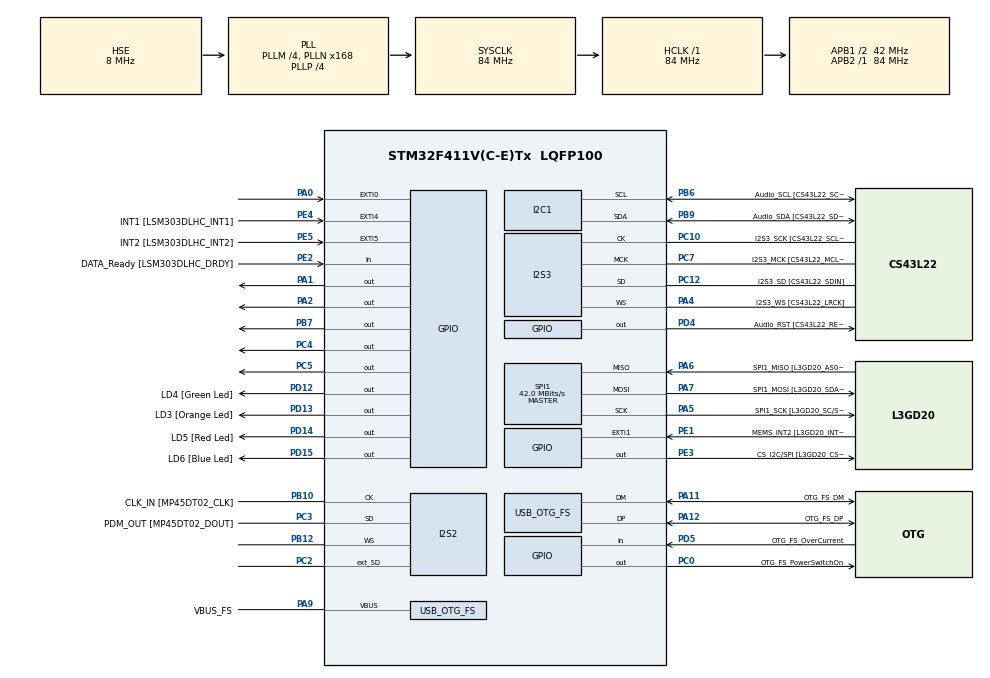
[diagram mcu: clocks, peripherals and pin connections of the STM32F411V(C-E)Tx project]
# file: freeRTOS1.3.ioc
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FREERTOS.Tasks01=defaultTask,24,128,StartDefaultTask,Default,NULL,Dynamic,NULL,NULL
FREERTOS.configUSE_NEWLIB_REENTRANT=1
I2S2.AudioFreq=I2S_AUDIOFREQ_96K
I2S2.ErrorAudioFreq=0.15 %
I2S2.FullDuplexMode=I2S_FULLDUPLEXMODE_ENABLE
I2S2.Instance=SPI$Index
I2S2.RealAudioFreq=96.153 KHz
I2S2.VirtualMode=I2S_MODE_MASTER
I2S3.AudioFreq=I2S_AUDIOFREQ_96K
I2S3.ErrorAudioFreq=-6.99 %
I2S3.FullDuplexMode=I2S_FULLDUPLEXMODE_DISABLE
I2S3.Instance=SPI$Index
I2S3.RealAudioFreq=89.285 KHz
I2S3.VirtualMode=I2S_MODE_MASTER
Mcu.Family=STM32F4
Mcu.Name=STM32F411V(C-E)Tx
Mcu.Package=LQFP100
NVIC.OTG_FS_IRQn=true\:5\:0\:false\:false\:true\:true\:true\:true\:true
NVIC.PriorityGroup=NVIC_PRIORITYGROUP_4
NVIC.TIM4_IRQn=true\:15\:0\:false\:false\:true\:false\:false\:true\:true
NVIC.TimeBase=TIM4_IRQn
NVIC.TimeBaseIP=TIM4
PA0-WKUP.GPIO_ModeDefaultEXTI=GPIO_MODE_EVT_RISING
PA0-WKUP.Signal=GPXTI0
PA1.Signal=GPIO_Output
PA10.GPIO_Label=OTG_FS_ID
PA10.Signal=USB_OTG_FS_ID
PA11.GPIO_Label=OTG_FS_DM
PA11.Mode=Device_Only
PA11.Signal=USB_OTG_FS_DM
PA12.GPIO_Label=OTG_FS_DP
PA12.Mode=Device_Only
PA12.Signal=USB_OTG_FS_DP
PA13.GPIO_Label=SWDIO
PA13.Mode=Serial_Wire
PA13.Signal=SYS_JTMS-SWDIO
PA14.GPIO_Label=SWCLK
PA14.Mode=Serial_Wire
PA14.Signal=SYS_JTCK-SWCLK
PA2.Signal=GPIO_Output
PA4.GPIO_Label=I2S3_WS [CS43L22_LRCK]
PA4.GPIO_Mode=GPIO_MODE_AF_PP
PA4.GPIO_PuPd=GPIO_NOPULL
PA4.GPIO_Speed=GPIO_SPEED_FREQ_LOW
PA4.Mode=Half_Duplex_Master
PA4.Signal=I2S3_WS
PA5.GPIO_Label=SPI1_SCK [L3GD20_SC/SPC]
PA5.Mode=Full_Duplex_Master
PA5.Signal=SPI1_SCK
PA6.GPIO_Label=SPI1_MISO [L3GD20_AS0/SDO]
PA6.Mode=Full_Duplex_Master
PA6.Signal=SPI1_MISO
PA7.GPIO_Label=SPI1_MOSI [L3GD20_SDA/SDI/SDO]
PA7.Mode=Full_Duplex_Master
PA7.Signal=SPI1_MOSI
PA9.GPIO_Label=VBUS_FS
PA9.Mode=Activate_VBUS
PA9.Signal=USB_OTG_FS_VBUS
PB10.GPIO_Label=CLK_IN [MP45DT02_CLK]
PB10.Mode=Full_Duplex_Master
PB10.Signal=I2S2_CK
PB12.Mode=Full_Duplex_Master
PB12.Signal=I2S2_WS
PB3.GPIO_Label=SWO
PB3.Signal=SYS_JTDO-SWO
PB6.GPIO_Label=Audio_SCL [CS43L22_SCL]
PB6.GPIO_Mode=GPIO_MODE_AF_OD
PB6.GPIO_Pu=GPIO_PULLUP
PB6.GPIO_PuPd=GPIO_NOPULL
PB6.GPIO_Speed=GPIO_SPEED_FREQ_LOW
PB6.Mode=I2C
PB6.Signal=I2C1_SCL
PB7.Signal=GPIO_Output
PB9.GPIO_Label=Audio_SDA [CS43L22_SDA]
PB9.GPIO_Mode=GPIO_MODE_AF_OD
PB9.GPIO_Pu=GPIO_PULLUP
PB9.GPIO_PuPd=GPIO_NOPULL
PB9.GPIO_Speed=GPIO_SPEED_FREQ_LOW
PB9.Mode=I2C
PB9.Signal=I2C1_SDA
PC0.GPIO_Label=OTG_FS_PowerSwitchOn
PC0.PinState=GPIO_PIN_SET
PC0.Signal=GPIO_Output
PC10.GPIO_Label=I2S3_SCK [CS43L22_SCLK]
PC10.GPIO_Mode=GPIO_MODE_AF_PP
PC10.GPIO_PuPd=GPIO_NOPULL
PC10.GPIO_Speed=GPIO_SPEED_FREQ_LOW
PC10.Mode=Half_Duplex_Master
PC10.Signal=I2S3_CK
PC12.GPIO_Label=I2S3_SD [CS43L22_SDIN]
PC12.GPIO_Mode=GPIO_MODE_AF_PP
PC12.GPIO_PuPd=GPIO_NOPULL
PC12.GPIO_Speed=GPIO_SPEED_FREQ_LOW
PC12.Mode=Half_Duplex_Master
PC12.Signal=I2S3_SD
PC14-OSC32_IN.GPIO_Label=PC14-OSC32_IN
PC14-OSC32_IN.Mode=LSE-External-Oscillator
PC14-OSC32_IN.Signal=RCC_OSC32_IN
PC15-OSC32_OUT.GPIO_Label=PC15-OSC32_OUT
PC15-OSC32_OUT.Mode=LSE-External-Oscillator
PC15-OSC32_OUT.Signal=RCC_OSC32_OUT
PC2.Mode=Full_Duplex_Master
PC2.Signal=I2S2_ext_SD
PC3.GPIO_Label=PDM_OUT [MP45DT02_DOUT]
PC3.Mode=Full_Duplex_Master
PC3.Signal=I2S2_SD
PC4.Signal=GPIO_Output
PC5.Signal=GPIO_Output
PC7.GPIO_Label=I2S3_MCK [CS43L22_MCLK]
PC7.GPIO_Mode=GPIO_MODE_AF_PP
PC7.GPIO_PuPd=GPIO_NOPULL
PC7.GPIO_Speed=GPIO_SPEED_FREQ_LOW
PC7.Mode=Master_Clock_Activated
PC7.Signal=I2S3_MCK
PD12.GPIO_Label=LD4 [Green Led]
PD12.GPIO_PuPd=GPIO_NOPULL
PD12.GPIO_Speed=GPIO_SPEED_FREQ_LOW
PD12.Signal=GPIO_Output
PD13.GPIO_Label=LD3 [Orange Led]
PD13.GPIO_PuPd=GPIO_NOPULL
PD13.GPIO_Speed=GPIO_SPEED_FREQ_LOW
PD13.Signal=GPIO_Output
PD14.GPIO_Label=LD5 [Red Led]
PD14.GPIO_PuPd=GPIO_NOPULL
PD14.GPIO_Speed=GPIO_SPEED_FREQ_LOW
PD14.Signal=GPIO_Output
PD15.GPIO_Label=LD6 [Blue Led]
PD15.GPIO_PuPd=GPIO_NOPULL
PD15.GPIO_Speed=GPIO_SPEED_FREQ_LOW
PD15.Signal=GPIO_Output
PD4.GPIO_Label=Audio_RST [CS43L22_RESET]
PD4.Signal=GPIO_Output
PD5.GPIO_Label=OTG_FS_OverCurrent
PD5.Signal=GPIO_Input
PE1.GPIO_Label=MEMS_INT2 [L3GD20_INT2]
PE1.GPIO_ModeDefaultEXTI=GPIO_MODE_EVT_RISING
PE1.Signal=GPXTI1
PE2.GPIO_Label=DATA_Ready [LSM303DLHC_DRDY]
PE2.Signal=GPIO_Input
PE3.GPIO_Label=CS_I2C/SPI [L3GD20_CS_I2C/SPI]
PE3.Signal=GPIO_Output
PE4.GPIO_Label=INT1 [LSM303DLHC_INT1]
PE4.GPIO_ModeDefaultEXTI=GPIO_MODE_EVT_RISING
PE4.Signal=GPXTI4
PE5.GPIO_Label=INT2 [LSM303DLHC_INT2]
PE5.GPIO_ModeDefaultEXTI=GPIO_MODE_EVT_RISING
PE5.Signal=GPXTI5
PH0\ -\ OSC_IN.GPIO_Label=PH0-OSC_IN
PH0\ -\ OSC_IN.Mode=HSE-External-Oscillator
PH0\ -\ OSC_IN.Signal=RCC_OSC_IN
PH1\ -\ OSC_OUT.GPIO_Label=PH1-OSC_OUT
PH1\ -\ OSC_OUT.Mode=HSE-External-Oscillator
PH1\ -\ OSC_OUT.Signal=RCC_OSC_OUT
ProjectManager.HeapSize=0x200
ProjectManager.StackSize=0x400
ProjectManager.TargetToolchain=STM32CubeIDE
RCC.48MHZClocksFreq_Value=48000000
RCC.AHBFreq_Value=84000000
RCC.APB1CLKDivider=RCC_HCLK_DIV2
RCC.APB1Freq_Value=42000000
RCC.APB1TimFreq_Value=84000000
RCC.APB2Freq_Value=84000000
RCC.APB2TimFreq_Value=84000000
RCC.CortexFreq_Value=84000000
RCC.HCLKFreq_Value=84000000
RCC.HSE_VALUE=8000000
RCC.HSI_VALUE=16000000
RCC.PLLI2SM=5
RCC.PLLI2SN=200
RCC.PLLM=4
RCC.PLLN=168
RCC.PLLP=RCC_PLLP_DIV4
RCC.PLLQ=7
RCC.SYSCLKFreq_VALUE=84000000
RCC.SYSCLKSource=RCC_SYSCLKSOURCE_PLLCLK
RCC.VCOOutputFreq_Value=336000000
SPI1.BaudRatePrescaler=SPI_BAUDRATEPRESCALER_2
SPI1.CalculateBaudRate=42.0 MBits/s
SPI1.Direction=SPI_DIRECTION_2LINES
SPI1.Mode=SPI_MODE_MASTER
SPI1.VirtualType=VM_MASTER
USB_DEVICE.CLASS_NAME_FS=CDC
USB_DEVICE.PRODUCT_STRING_CDC_FS=OutOfBounds
USB_DEVICE.VirtualMode=Cdc
USB_DEVICE.VirtualModeFS=Cdc_FS
USB_OTG_FS.VirtualMode=Device_Only
VP_FREERTOS_VS_CMSIS_V2.Mode=CMSIS_V2
VP_SYS_VS_tim4.Mode=TIM4
VP_USB_DEVICE_VS_USB_DEVICE_CDC_FS.Mode=CDC_FS
board=STM32F411E-DISCO

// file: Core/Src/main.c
/* USER CODE BEGIN Header */
/**
 ******************************************************************************
 * @file           : main.c
 * @brief          : Main program body
 ******************************************************************************
 * @attention
 *
 * Copyright (c) 2025 STMicroelectronics.
 * All rights reserved.
 *
 * This software is licensed under terms that can be found in the LICENSE file
 * in the root directory of this software component.
 * If no LICENSE file comes with this software, it is provided AS-IS.
 *
 ******************************************************************************
 */
/* USER CODE END Header */
#include "main.h"
#include "cmsis_os.h"
#include "usb_device.h"

/* USER CODE BEGIN Includes */
#include "FreeRTOS.h"
#include "queue.h"
#include "task.h"
/* USER CODE END Includes */

I2C_HandleTypeDef hi2c1;

I2S_HandleTypeDef hi2s2;
I2S_HandleTypeDef hi2s3;

SPI_HandleTypeDef hspi1;

/* Definitions for defaultTask */
osThreadId_t defaultTaskHandle;
const osThreadAttr_t defaultTask_attributes = { .name = "defaultTask",
		.stack_size = 128 * 4, .priority = (osPriority_t) osPriorityNormal, };

void SystemClock_Config(void);
void PeriphCommonClock_Config(void);
static void MX_GPIO_Init(void);
static void MX_I2C1_Init(void);
static void MX_I2S2_Init(void);
static void MX_I2S3_Init(void);
static void MX_SPI1_Init(void);
void StartDefaultTask(void *argument);

/* USER CODE BEGIN PFP */
void LEDTask(void *pvParameters);
void DC_MotorTask(void *pvParameters);
void beeperTask(void *pvParameters);

TaskHandle_t TaskHandle_LEDTask;
TaskHandle_t TaskHandle_USBTask;
TaskHandle_t TaskHandle_DC_MotorTask;
TaskHandle_t TaskHandle_beeperTask;
void usbRecieveData(uint8_t data);

//max 5 items, each one byte, 0->no command, 1-4 ->different gestures
QueueHandle_t usbQueue;
QueueHandle_t ledQueue, motorQueue, beeperQueue;
static TaskHandle_t xLedTaskHandle = NULL;
const uint8_t ucLedState = 1;
/* USER CODE END PFP */

/* USER CODE BEGIN 0 */
enum Gesture {
	FIST = 0,
	HAND = 1,
	PEACE = 2,
	THUMBS_UP = 3,
	NOTHING = 4
};
void LEDTask(void *pvParameters) {  // green LED
	uint32_t recievedCommand = 0;
	xLedTaskHandle = xTaskGetCurrentTaskHandle();
//    uint32_t ulNotificationValue;
	for (;;) {

		xTaskNotifyWait(0, 0x00, &recievedCommand, portMAX_DELAY); //Waits untill a task is called

		if (recievedCommand == FIST) {
			HAL_GPIO_WritePin(GPIOD, GPIO_PIN_12, GPIO_PIN_SET);
		} else {
			HAL_GPIO_WritePin(GPIOD, GPIO_PIN_12, GPIO_PIN_RESET);
		}
		if (recievedCommand == HAND) {
			HAL_GPIO_WritePin(GPIOD, GPIO_PIN_13, GPIO_PIN_SET);
		} else {
			HAL_GPIO_WritePin(GPIOD, GPIO_PIN_13, GPIO_PIN_RESET);
		}
		if (recievedCommand == PEACE) {
			HAL_GPIO_WritePin(GPIOD, GPIO_PIN_14, GPIO_PIN_SET);
		} else {
			HAL_GPIO_WritePin(GPIOD, GPIO_PIN_14, GPIO_PIN_RESET);
		}
		if (recievedCommand == THUMBS_UP) {
			HAL_GPIO_WritePin(GPIOD, GPIO_PIN_15, GPIO_PIN_SET);
		} else {
			HAL_GPIO_WritePin(GPIOD, GPIO_PIN_15, GPIO_PIN_RESET);
		}
	}
}
static int usbCommand = NOTHING;
void usbRecieveData(uint8_t data) {

	usbCommand = data;
}

void DC_MotorTask(void *pvParameters) {  // red LED
	int recievedCommand = 0;
	for (;;) {
		xQueueReceive(motorQueue, &recievedCommand, pdMS_TO_TICKS(100));

		if (recievedCommand == FIST) {

			HAL_GPIO_WritePin(GPIOA, GPIO_PIN_1, GPIO_PIN_SET);
			HAL_GPIO_WritePin(GPIOA, GPIO_PIN_2, GPIO_PIN_SET);
			HAL_GPIO_WritePin(GPIOC, GPIO_PIN_4, GPIO_PIN_RESET);
			HAL_GPIO_WritePin(GPIOC, GPIO_PIN_5, GPIO_PIN_RESET);
		} else if (recievedCommand == HAND) {
			HAL_GPIO_WritePin(GPIOA, GPIO_PIN_1, GPIO_PIN_RESET);
			HAL_GPIO_WritePin(GPIOA, GPIO_PIN_2, GPIO_PIN_RESET);
			HAL_GPIO_WritePin(GPIOC, GPIO_PIN_4, GPIO_PIN_SET);
			HAL_GPIO_WritePin(GPIOC, GPIO_PIN_5, GPIO_PIN_SET);
		} else {
			HAL_GPIO_WritePin(GPIOA, GPIO_PIN_1, GPIO_PIN_RESET);
			HAL_GPIO_WritePin(GPIOA, GPIO_PIN_2, GPIO_PIN_RESET);
			HAL_GPIO_WritePin(GPIOC, GPIO_PIN_4, GPIO_PIN_RESET);
			HAL_GPIO_WritePin(GPIOC, GPIO_PIN_5, GPIO_PIN_RESET);

		}

	}
}
void beeper_noise() {   //pin je pb7
	uint32_t leveli_glasnosti[5] = { 50, 80, 50, 120, 0 };

	for (uint8_t var = 0; var < 5; ++var) {
		HAL_GPIO_WritePin(GPIOB, GPIO_PIN_7, GPIO_PIN_SET);
		HAL_Delay(leveli_glasnosti[var]);
		HAL_GPIO_WritePin(GPIOB, GPIO_PIN_7, GPIO_PIN_RESET);
		HAL_Delay(120 - leveli_glasnosti[var]);
	}

	HAL_GPIO_WritePin(GPIOB, GPIO_PIN_7, GPIO_PIN_RESET);

}
void beeperTask(void *pvParameters) {  // blue LED
	int recievedCommand = 0;
	for (;;) {
		xQueueReceive(beeperQueue, &recievedCommand, pdMS_TO_TICKS(100));

		if (recievedCommand == THUMBS_UP) {
			//HAL_GPIO_WritePin(GPIOD, GPIO_PIN_15, GPIO_PIN_SET);
			beeper_noise();
		} else {
			//HAL_GPIO_WritePin(GPIOD, GPIO_PIN_15, GPIO_PIN_RESET);
		}

	}
}

void USBTask(void *pvParameters) {

	for (;;) {
		//check for buffer

		if (usbCommand)
			xQueueSend(ledQueue, &usbCommand, pdMS_TO_TICKS(100));
		if (xLedTaskHandle != NULL) {
			xTaskNotify(xLedTaskHandle, usbCommand, eSetValueWithoutOverwrite);
		}
//        xQueueSend(ledQueue, &command, pdMS_TO_TICKS(100));
		xQueueSend(motorQueue, &usbCommand, pdMS_TO_TICKS(100));
		xQueueSend(beeperQueue, &usbCommand, pdMS_TO_TICKS(100));

		vTaskDelay(pdMS_TO_TICKS(100));
	}
}

/* USER CODE END 0 */

int main(void) {

	/* USER CODE BEGIN 1 */
// Create a queue with 5 items, each of 1 byte (uint8_t) in size
	//usbQueue = xQueueCreate(5, sizeof(uint8_t));
	ledQueue = xQueueCreate(2, sizeof(int));
	motorQueue = xQueueCreate(2, sizeof(int));
	beeperQueue = xQueueCreate(2, sizeof(int));

	/* USER CODE END 1 */

	/* MCU Configuration--------------------------------------------------------*/

	/* Reset of all peripherals, Initializes the Flash interface and the Systick. */
	HAL_Init();

	/* Configure the system clock */
	SystemClock_Config();

	/* Configure the peripherals common clocks */
	PeriphCommonClock_Config();

	/* Initialize all configured peripherals */
	MX_GPIO_Init();
	MX_I2C1_Init();
	MX_I2S2_Init();
	MX_I2S3_Init();
	MX_SPI1_Init();

	/* Init scheduler */
	osKernelInitialize();

	/* Create the thread(s) */
	/* creation of defaultTask */
	defaultTaskHandle = osThreadNew(StartDefaultTask, NULL,
			&defaultTask_attributes);

	/* USER CODE BEGIN RTOS_EVENTS */

	/* add events, ... */
	xTaskCreate(LEDTask, "LED Task", 128, NULL, 2, &TaskHandle_LEDTask);
	xTaskCreate(USBTask, "USB Task", 128, NULL, 2, NULL);
	xTaskCreate(beeperTask, "beeper Task", 128, NULL, 2,
			&TaskHandle_beeperTask);
	xTaskCreate(DC_MotorTask, "DC Motor Task", 128, NULL, 2,
			&TaskHandle_DC_MotorTask);
	/* USER CODE END RTOS_EVENTS */

	/* Start scheduler */
	osKernelStart();

	/* We should never get here as control is now taken by the scheduler */

	/* Infinite loop */
	while (1) {

	}
}

void SystemClock_Config(void) {
	RCC_OscInitTypeDef RCC_OscInitStruct = { 0 };
	RCC_ClkInitTypeDef RCC_ClkInitStruct = { 0 };

	/** Configure the main internal regulator output voltage
	 */
	__HAL_RCC_PWR_CLK_ENABLE();
	__HAL_PWR_VOLTAGESCALING_CONFIG(PWR_REGULATOR_VOLTAGE_SCALE1);

	/** Initializes the RCC Oscillators according to the specified parameters
	 * in the RCC_OscInitTypeDef structure.
	 */
	RCC_OscInitStruct.OscillatorType = RCC_OSCILLATORTYPE_HSE;
	RCC_OscInitStruct.HSEState = RCC_HSE_ON;
	RCC_OscInitStruct.PLL.PLLState = RCC_PLL_ON;
	RCC_OscInitStruct.PLL.PLLSource = RCC_PLLSOURCE_HSE;
	RCC_OscInitStruct.PLL.PLLM = 4;
	RCC_OscInitStruct.PLL.PLLN = 168;
	RCC_OscInitStruct.PLL.PLLP = RCC_PLLP_DIV4;
	RCC_OscInitStruct.PLL.PLLQ = 7;
	if (HAL_RCC_OscConfig(&RCC_OscInitStruct) != HAL_OK) {
		Error_Handler();
	}

	/** Initializes the CPU, AHB and APB buses clocks
	 */
	RCC_ClkInitStruct.ClockType = RCC_CLOCKTYPE_HCLK | RCC_CLOCKTYPE_SYSCLK
			| RCC_CLOCKTYPE_PCLK1 | RCC_CLOCKTYPE_PCLK2;
	RCC_ClkInitStruct.SYSCLKSource = RCC_SYSCLKSOURCE_PLLCLK;
	RCC_ClkInitStruct.AHBCLKDivider = RCC_SYSCLK_DIV1;
	RCC_ClkInitStruct.APB1CLKDivider = RCC_HCLK_DIV2;
	RCC_ClkInitStruct.APB2CLKDivider = RCC_HCLK_DIV1;

	if (HAL_RCC_ClockConfig(&RCC_ClkInitStruct, FLASH_LATENCY_2) != HAL_OK) {
		Error_Handler();
	}
}

void PeriphCommonClock_Config(void) {
	RCC_PeriphCLKInitTypeDef PeriphClkInitStruct = { 0 };

	/** Initializes the peripherals clock
	 */
	PeriphClkInitStruct.PeriphClockSelection = RCC_PERIPHCLK_I2S;
	PeriphClkInitStruct.PLLI2S.PLLI2SN = 200;
	PeriphClkInitStruct.PLLI2S.PLLI2SM = 5;
	PeriphClkInitStruct.PLLI2S.PLLI2SR = 2;
	if (HAL_RCCEx_PeriphCLKConfig(&PeriphClkInitStruct) != HAL_OK) {
		Error_Handler();
	}
}

static void MX_I2C1_Init(void) {

	hi2c1.Instance = I2C1;
	hi2c1.Init.ClockSpeed = 100000;
	hi2c1.Init.DutyCycle = I2C_DUTYCYCLE_2;
	hi2c1.Init.OwnAddress1 = 0;
	hi2c1.Init.AddressingMode = I2C_ADDRESSINGMODE_7BIT;
	hi2c1.Init.DualAddressMode = I2C_DUALADDRESS_DISABLE;
	hi2c1.Init.OwnAddress2 = 0;
	hi2c1.Init.GeneralCallMode = I2C_GENERALCALL_DISABLE;
	hi2c1.Init.NoStretchMode = I2C_NOSTRETCH_DISABLE;
	if (HAL_I2C_Init(&hi2c1) != HAL_OK) {
		Error_Handler();
	}

}

static void MX_I2S2_Init(void) {

	hi2s2.Instance = SPI2;
	hi2s2.Init.Mode = I2S_MODE_MASTER_TX;
	hi2s2.Init.Standard = I2S_STANDARD_PHILIPS;
	hi2s2.Init.DataFormat = I2S_DATAFORMAT_16B;
	hi2s2.Init.MCLKOutput = I2S_MCLKOUTPUT_DISABLE;
	hi2s2.Init.AudioFreq = I2S_AUDIOFREQ_96K;
	hi2s2.Init.CPOL = I2S_CPOL_LOW;
	hi2s2.Init.ClockSource = I2S_CLOCK_PLL;
	hi2s2.Init.FullDuplexMode = I2S_FULLDUPLEXMODE_ENABLE;
	if (HAL_I2S_Init(&hi2s2) != HAL_OK) {
		Error_Handler();
	}

}

static void MX_I2S3_Init(void) {

	hi2s3.Instance = SPI3;
	hi2s3.Init.Mode = I2S_MODE_MASTER_TX;
	hi2s3.Init.Standard = I2S_STANDARD_PHILIPS;
	hi2s3.Init.DataFormat = I2S_DATAFORMAT_16B;
	hi2s3.Init.MCLKOutput = I2S_MCLKOUTPUT_ENABLE;
	hi2s3.Init.AudioFreq = I2S_AUDIOFREQ_96K;
	hi2s3.Init.CPOL = I2S_CPOL_LOW;
	hi2s3.Init.ClockSource = I2S_CLOCK_PLL;
	hi2s3.Init.FullDuplexMode = I2S_FULLDUPLEXMODE_DISABLE;
	if (HAL_I2S_Init(&hi2s3) != HAL_OK) {
		Error_Handler();
	}

}

static void MX_SPI1_Init(void) {

	/* SPI1 parameter configuration*/
	hspi1.Instance = SPI1;
	hspi1.Init.Mode = SPI_MODE_MASTER;
	hspi1.Init.Direction = SPI_DIRECTION_2LINES;
	hspi1.Init.DataSize = SPI_DATASIZE_8BIT;
	hspi1.Init.CLKPolarity = SPI_POLARITY_LOW;
	hspi1.Init.CLKPhase = SPI_PHASE_1EDGE;
	hspi1.Init.NSS = SPI_NSS_SOFT;
	hspi1.Init.BaudRatePrescaler = SPI_BAUDRATEPRESCALER_2;
	hspi1.Init.FirstBit = SPI_FIRSTBIT_MSB;
	hspi1.Init.TIMode = SPI_TIMODE_DISABLE;
	hspi1.Init.CRCCalculation = SPI_CRCCALCULATION_DISABLE;
	hspi1.Init.CRCPolynomial = 10;
	if (HAL_SPI_Init(&hspi1) != HAL_OK) {
		Error_Handler();
	}

}

static void MX_GPIO_Init(void) {
	GPIO_InitTypeDef GPIO_InitStruct = { 0 };

	/* GPIO Ports Clock Enable */
	__HAL_RCC_GPIOE_CLK_ENABLE();
	__HAL_RCC_GPIOC_CLK_ENABLE();
	__HAL_RCC_GPIOH_CLK_ENABLE();
	__HAL_RCC_GPIOA_CLK_ENABLE();
	__HAL_RCC_GPIOB_CLK_ENABLE();
	__HAL_RCC_GPIOD_CLK_ENABLE();

	/*Configure GPIO pin Output Level */
	HAL_GPIO_WritePin(CS_I2C_SPI_GPIO_Port, CS_I2C_SPI_Pin, GPIO_PIN_RESET);

	/*Configure GPIO pin Output Level */
	HAL_GPIO_WritePin(OTG_FS_PowerSwitchOn_GPIO_Port, OTG_FS_PowerSwitchOn_Pin,
			GPIO_PIN_SET);

	/*Configure GPIO pin Output Level */
	HAL_GPIO_WritePin(GPIOA, GPIO_PIN_1 | GPIO_PIN_2, GPIO_PIN_RESET);

	/*Configure GPIO pin Output Level */
	HAL_GPIO_WritePin(GPIOC, GPIO_PIN_4 | GPIO_PIN_5, GPIO_PIN_RESET);

	/*Configure GPIO pin Output Level */
	HAL_GPIO_WritePin(GPIOD,
	LD4_Pin | LD3_Pin | LD5_Pin | LD6_Pin | Audio_RST_Pin, GPIO_PIN_RESET);

	/*Configure GPIO pin Output Level */
	HAL_GPIO_WritePin(GPIOB, GPIO_PIN_7, GPIO_PIN_RESET);

	/*Configure GPIO pin : DATA_Ready_Pin */
	GPIO_InitStruct.Pin = DATA_Ready_Pin;
	GPIO_InitStruct.Mode = GPIO_MODE_INPUT;
	GPIO_InitStruct.Pull = GPIO_NOPULL;
	HAL_GPIO_Init(DATA_Ready_GPIO_Port, &GPIO_InitStruct);

	/*Configure GPIO pin : CS_I2C_SPI_Pin */
	GPIO_InitStruct.Pin = CS_I2C_SPI_Pin;
	GPIO_InitStruct.Mode = GPIO_MODE_OUTPUT_PP;
	GPIO_InitStruct.Pull = GPIO_NOPULL;
	GPIO_InitStruct.Speed = GPIO_SPEED_FREQ_LOW;
	HAL_GPIO_Init(CS_I2C_SPI_GPIO_Port, &GPIO_InitStruct);

	/*Configure GPIO pins : INT1_Pin INT2_Pin MEMS_INT2_Pin */
	GPIO_InitStruct.Pin = INT1_Pin | INT2_Pin | MEMS_INT2_Pin;
	GPIO_InitStruct.Mode = GPIO_MODE_EVT_RISING;
	GPIO_InitStruct.Pull = GPIO_NOPULL;
	HAL_GPIO_Init(GPIOE, &GPIO_InitStruct);

	/*Configure GPIO pins : OTG_FS_PowerSwitchOn_Pin PC4 PC5 */
	GPIO_InitStruct.Pin = OTG_FS_PowerSwitchOn_Pin | GPIO_PIN_4 | GPIO_PIN_5;
	GPIO_InitStruct.Mode = GPIO_MODE_OUTPUT_PP;
	GPIO_InitStruct.Pull = GPIO_NOPULL;
	GPIO_InitStruct.Speed = GPIO_SPEED_FREQ_LOW;
	HAL_GPIO_Init(GPIOC, &GPIO_InitStruct);

	/*Configure GPIO pin : PA0 */
	GPIO_InitStruct.Pin = GPIO_PIN_0;
	GPIO_InitStruct.Mode = GPIO_MODE_EVT_RISING;
	GPIO_InitStruct.Pull = GPIO_NOPULL;
	HAL_GPIO_Init(GPIOA, &GPIO_InitStruct);

	/*Configure GPIO pins : PA1 PA2 */
	GPIO_InitStruct.Pin = GPIO_PIN_1 | GPIO_PIN_2;
	GPIO_InitStruct.Mode = GPIO_MODE_OUTPUT_PP;
	GPIO_InitStruct.Pull = GPIO_NOPULL;
	GPIO_InitStruct.Speed = GPIO_SPEED_FREQ_LOW;
	HAL_GPIO_Init(GPIOA, &GPIO_InitStruct);

	/*Configure GPIO pins : LD4_Pin LD3_Pin LD5_Pin LD6_Pin
	 Audio_RST_Pin */
	GPIO_InitStruct.Pin = LD4_Pin | LD3_Pin | LD5_Pin | LD6_Pin | Audio_RST_Pin;
	GPIO_InitStruct.Mode = GPIO_MODE_OUTPUT_PP;
	GPIO_InitStruct.Pull = GPIO_NOPULL;
	GPIO_InitStruct.Speed = GPIO_SPEED_FREQ_LOW;
	HAL_GPIO_Init(GPIOD, &GPIO_InitStruct);

	/*Configure GPIO pin : OTG_FS_OverCurrent_Pin */
	GPIO_InitStruct.Pin = OTG_FS_OverCurrent_Pin;
	GPIO_InitStruct.Mode = GPIO_MODE_INPUT;
	GPIO_InitStruct.Pull = GPIO_NOPULL;
	HAL_GPIO_Init(OTG_FS_OverCurrent_GPIO_Port, &GPIO_InitStruct);

	/*Configure GPIO pin : PB7 */
	GPIO_InitStruct.Pin = GPIO_PIN_7;
	GPIO_InitStruct.Mode = GPIO_MODE_OUTPUT_PP;
	GPIO_InitStruct.Pull = GPIO_NOPULL;
	GPIO_InitStruct.Speed = GPIO_SPEED_FREQ_LOW;
	HAL_GPIO_Init(GPIOB, &GPIO_InitStruct);

}

void StartDefaultTask(void *argument) {
	/* init code for USB_DEVICE */
	MX_USB_DEVICE_Init();
	for (;;) {
		osDelay(1);
	}
}

void HAL_TIM_PeriodElapsedCallback(TIM_HandleTypeDef *htim) {
	if (htim->Instance == TIM4) {
		HAL_IncTick();
	}
}

void Error_Handler(void) {
	__disable_irq();
	while (1) {
	}
}
